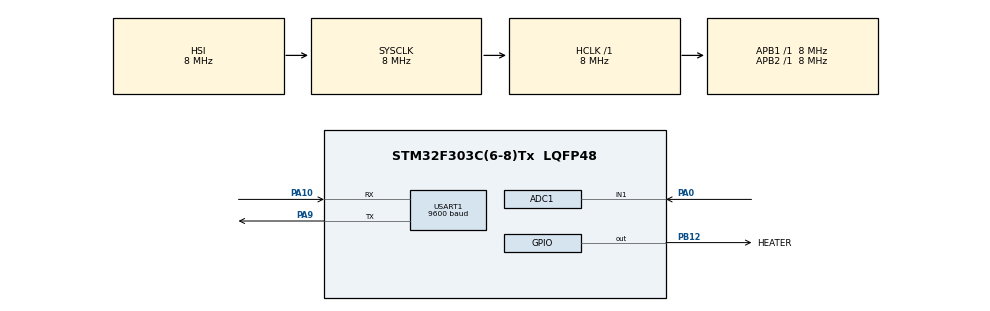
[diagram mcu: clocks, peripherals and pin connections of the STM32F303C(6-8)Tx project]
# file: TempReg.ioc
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ADC1.Channel-0\#ChannelRegularConversion=ADC_CHANNEL_1
ADC1.NbrOfConversionFlag=1
ADC1.Offset-0\#ChannelRegularConversion=0
ADC1.OffsetNumber-0\#ChannelRegularConversion=ADC_OFFSET_NONE
ADC1.Rank-0\#ChannelRegularConversion=1
ADC1.SamplingTime-0\#ChannelRegularConversion=ADC_SAMPLETIME_1CYCLE_5
ADC1.master=1
Mcu.Family=STM32F3
Mcu.Name=STM32F303C(6-8)Tx
Mcu.Package=LQFP48
NVIC.ADC1_2_IRQn=true\:0\:0\:false\:false\:true\:true\:true
NVIC.PriorityGroup=NVIC_PRIORITYGROUP_4
NVIC.TIM1_CC_IRQn=true\:0\:0\:false\:false\:true\:true\:true
PA0.Mode=IN1-Single-Ended
PA0.Signal=ADC1_IN1
PA10.Mode=Asynchronous
PA10.Signal=USART1_RX
PA9.Mode=Asynchronous
PA9.Signal=USART1_TX
PB12.GPIO_Label=HEATER
PB12.Signal=GPIO_Output
ProjectManager.HeapSize=0x200
ProjectManager.StackSize=0x400
ProjectManager.TargetToolchain=MDK-ARM V5.27
RCC.AHBFreq_Value=8000000
RCC.APB1Freq_Value=8000000
RCC.APB1TimFreq_Value=8000000
RCC.APB2Freq_Value=8000000
RCC.APB2TimFreq_Value=8000000
RCC.CortexFreq_Value=8000000
RCC.HCLKFreq_Value=8000000
RCC.HSE_VALUE=8000000
RCC.HSI_VALUE=8000000
RCC.LSE_VALUE=32768
RCC.PLLMUL=RCC_PLL_MUL4
RCC.SYSCLKFreq_VALUE=8000000
TIM1.ClockDivision=TIM_CLOCKDIVISION_DIV1
TIM1.Period=7999
TIM1.Prescaler=0
TIM2.Period=7999
TIM2.Prescaler=999
USART1.BaudRate=9600
USART1.VirtualMode-Asynchronous=VM_ASYNC
VP_TIM1_VS_ClockSourceINT.Mode=Internal
VP_TIM2_VS_ClockSourceINT.Mode=Internal
board=custom

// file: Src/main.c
/* USER CODE BEGIN Header */
/**
  ******************************************************************************
  * @file           : main.c
  * @brief          : Main program body
  ******************************************************************************
  * @attention
  *
  * <h2><center>&copy; Copyright (c) 2020 STMicroelectronics.
  * All rights reserved.</center></h2>
  *
  * This software component is licensed by ST under BSD 3-Clause license,
  * the "License"; You may not use this file except in compliance with the
  * License. You may obtain a copy of the License at:
  *                        opensource.org/licenses/BSD-3-Clause
  *
  ******************************************************************************
  */
/* USER CODE END Header */

#include "main.h"

/* USER CODE BEGIN PD */
// Коэффициенты преобразования показаний АЦП в температуру
#define TEMP_COEFF_A 0.01
#define TEMP_COEFF_B 0.0
/* USER CODE END PD */

ADC_HandleTypeDef hadc1;

TIM_HandleTypeDef htim1;
TIM_HandleTypeDef htim2;

UART_HandleTypeDef huart1;

/* USER CODE BEGIN PV */

volatile uint8_t rx_buff[256]; // Кольцевой буфер для приёма данных
volatile uint8_t rx_head=0, rx_tail=0; // Указатели на голову и хвост

volatile uint8_t tx_buff[256]; // Кольцевой буфер для отправки данных
volatile uint8_t tx_head=0, tx_tail=0; // Указатели на голову и хвост

volatile uint8_t chr; // Временный символ, который мы разбираем из rx_buff

volatile double coeff_p=1.0, coeff_i=0.0, coeff_d=0.0; // Коэффициенты PID
volatile double target_temp=0.0; // Целевая температура
volatile double cur_temp; // Текущая температура
volatile uint8_t heater_state; // Состояние нагревателя

/* USER CODE END PV */

void SystemClock_Config(void);
static void MX_GPIO_Init(void);
static void MX_USART1_UART_Init(void);
static void MX_ADC1_Init(void);
static void MX_TIM1_Init(void);
static void MX_TIM2_Init(void);

/* USER CODE BEGIN 0 */

// Конечный автомат, разбирающий сообщения из кольцевого буфера
void usart_rx_proccess(void)
{
	static uint8_t ch; // Временный символ, который мы разбираем из rx_buff
	static uint8_t dstate = 0; // Состояние автомата-декодера, разбирающего входящие сообщения
	static uint8_t recv; // Какое число получаем
	static uint32_t int_part, frac_part; // Целя и дробная часть числа
	static int8_t sign; // Знак числа
	static double number; // Принятое число

	while (rx_head != rx_tail) // Пока буфер приёма не пустой
	{
		ch = rx_buff[rx_tail++]; // Забираем символ из буфера
		switch (dstate) // Разбор сообщения
		{
			case 0: {if (ch == '$') {dstate = 1; int_part = 0; frac_part = 0; sign = 1;} else dstate = 0;} break;
			case 1: {if ((ch == 'P') || (ch == 'I') || (ch == 'D') || (ch == 'T')) {recv = ch; dstate = 2;} else dstate = 0;} break;
			case 2: {if (ch == ',') dstate = 3; else dstate = 3;} //break;
			case 3: {if (ch == '-') {sign = -1; dstate = 4;} else dstate = 3;} //break;
			case 4: {if ((ch >= '0') && (ch <= '9')) {
								int_part *= 10;
								int_part += ch - '0';} else
			         if (ch == '.') dstate = 5; else dstate = 0;} break;
			case 5: {if ((ch >= '0') && (ch <= '9')) {frac_part *= 10; frac_part += ch - '0';} else
			         if ((ch == '\r') || (ch == '\n')) {
								 // Собираем дробное число
								 number = frac_part;
								 while (number >= 1.0) number /= 10.0;
								 number += int_part;
								 if (sign == -1) number *= -1;
								 // Записываем нужный коэффициент
								 if (recv == 'P') coeff_p = number;
								 if (recv == 'I') coeff_i = number;
								 if (recv == 'D') coeff_d = number;
								 if (recv == 'T') target_temp = number;
								 dstate = 0;
							 } else dstate = 0;} break;
			default: {dstate = 0;} break;
		}
	}
}

// Обработчик прерывания USART Receive Complete
void HAL_UART_RxCpltCallback(UART_HandleTypeDef *huart)
{
	if (huart == &huart1)
	{
		if (((uint8_t)(rx_head + 1)) != rx_tail) // Если кольцевой буфер не переполнен
		{
			// Просто добавляем символ в кольцевой буфер
			rx_buff[rx_head++] = chr;
			HAL_UART_Receive_IT(&huart1, (uint8_t*)&chr, 1);
		} else { // Если кольцевой буфер переполнен
			HAL_UART_Receive_IT(&huart1, (uint8_t*)&chr, 1);
		}
	}
}

// Обработчик прерывания АЦП
void HAL_ADC_ConvCpltCallback(ADC_HandleTypeDef* hadc)
{
    if(hadc == &hadc1)
    {
      uint16_t adc_val = HAL_ADC_GetValue(&hadc1);
			cur_temp = adc_val * TEMP_COEFF_A + TEMP_COEFF_B; // Вычисляем температуру по показаниям АЦП

			static volatile double err_cur=0.0, err_prev=0.0; // Ошибка
			static volatile double part_p, part_i, part_d, reaction; // PID части
			err_prev = err_cur;
			err_cur = target_temp - cur_temp;

			part_p = coeff_p * err_cur;
			part_i += coeff_i * err_cur;
			part_d = coeff_d * (err_cur - err_prev);

			reaction = part_p + part_i + part_d;

			if (reaction < 0) {
				heater_state = 1;
			} else {
				heater_state = 0;
			}
    }
}

// Обработчик прерывания таймера
void HAL_TIM_PeriodElapsedCallback(TIM_HandleTypeDef *handle)
{
	if (handle == &htim1) // Частота: 1 КГц
	{
		// Запускаем преобразование АЦП
		HAL_ADC_Start_IT(&hadc1);
	}

	if (handle == &htim2) // Частота: 1 Гц
	{
		// Включаем/выключаем нагреватель
		HAL_GPIO_WritePin(HEATER_GPIO_Port, HEATER_Pin, (heater_state ? GPIO_PIN_SET : GPIO_PIN_RESET));
	}
}

/* USER CODE END 0 */

int main(void)
{

  /* MCU Configuration--------------------------------------------------------*/

  /* Reset of all peripherals, Initializes the Flash interface and the Systick. */
  HAL_Init();

  /* Configure the system clock */
  SystemClock_Config();

  /* Initialize all configured peripherals */
  MX_GPIO_Init();
  MX_USART1_UART_Init();
  MX_ADC1_Init();
  MX_TIM1_Init();
  MX_TIM2_Init();
  /* USER CODE BEGIN 2 */
	HAL_UART_Receive_IT(&huart1, (uint8_t*)&chr, 1);
	HAL_ADCEx_Calibration_Start(&hadc1, ADC_SINGLE_ENDED);
	HAL_ADC_Start_IT(&hadc1);
	HAL_TIM_Base_Start(&htim1);
  HAL_TIM_Base_Start_IT(&htim1);
	HAL_TIM_Base_Start(&htim2);
  HAL_TIM_Base_Start_IT(&htim2);
  /* USER CODE END 2 */

  /* Infinite loop */
  /* USER CODE BEGIN WHILE */
  while (1)
  {
		usart_rx_proccess(); // Разбор входящих сообщений USART
    /* USER CODE END WHILE */

  }
}

void SystemClock_Config(void)
{
  RCC_OscInitTypeDef RCC_OscInitStruct = {0};
  RCC_ClkInitTypeDef RCC_ClkInitStruct = {0};
  RCC_PeriphCLKInitTypeDef PeriphClkInit = {0};

  /** Initializes the CPU, AHB and APB busses clocks
  */
  RCC_OscInitStruct.OscillatorType = RCC_OSCILLATORTYPE_HSI;
  RCC_OscInitStruct.HSIState = RCC_HSI_ON;
  RCC_OscInitStruct.HSICalibrationValue = RCC_HSICALIBRATION_DEFAULT;
  RCC_OscInitStruct.PLL.PLLState = RCC_PLL_ON;
  RCC_OscInitStruct.PLL.PLLSource = RCC_PLLSOURCE_HSI;
  RCC_OscInitStruct.PLL.PLLMUL = RCC_PLL_MUL4;
  if (HAL_RCC_OscConfig(&RCC_OscInitStruct) != HAL_OK)
  {
    Error_Handler();
  }
  /** Initializes the CPU, AHB and APB busses clocks
  */
  RCC_ClkInitStruct.ClockType = RCC_CLOCKTYPE_HCLK|RCC_CLOCKTYPE_SYSCLK
                              |RCC_CLOCKTYPE_PCLK1|RCC_CLOCKTYPE_PCLK2;
  RCC_ClkInitStruct.SYSCLKSource = RCC_SYSCLKSOURCE_HSI;
  RCC_ClkInitStruct.AHBCLKDivider = RCC_SYSCLK_DIV1;
  RCC_ClkInitStruct.APB1CLKDivider = RCC_HCLK_DIV1;
  RCC_ClkInitStruct.APB2CLKDivider = RCC_HCLK_DIV1;

  if (HAL_RCC_ClockConfig(&RCC_ClkInitStruct, FLASH_LATENCY_0) != HAL_OK)
  {
    Error_Handler();
  }
  PeriphClkInit.PeriphClockSelection = RCC_PERIPHCLK_USART1|RCC_PERIPHCLK_TIM1
                              |RCC_PERIPHCLK_ADC12;
  PeriphClkInit.Usart1ClockSelection = RCC_USART1CLKSOURCE_PCLK1;
  PeriphClkInit.Adc12ClockSelection = RCC_ADC12PLLCLK_DIV1;
  PeriphClkInit.Tim1ClockSelection = RCC_TIM1CLK_HCLK;
  if (HAL_RCCEx_PeriphCLKConfig(&PeriphClkInit) != HAL_OK)
  {
    Error_Handler();
  }
}

static void MX_ADC1_Init(void)
{

  ADC_MultiModeTypeDef multimode = {0};
  ADC_ChannelConfTypeDef sConfig = {0};

  /** Common config
  */
  hadc1.Instance = ADC1;
  hadc1.Init.ClockPrescaler = ADC_CLOCK_ASYNC_DIV1;
  hadc1.Init.Resolution = ADC_RESOLUTION_12B;
  hadc1.Init.ScanConvMode = ADC_SCAN_DISABLE;
  hadc1.Init.ContinuousConvMode = DISABLE;
  hadc1.Init.DiscontinuousConvMode = DISABLE;
  hadc1.Init.ExternalTrigConvEdge = ADC_EXTERNALTRIGCONVEDGE_NONE;
  hadc1.Init.ExternalTrigConv = ADC_SOFTWARE_START;
  hadc1.Init.DataAlign = ADC_DATAALIGN_RIGHT;
  hadc1.Init.NbrOfConversion = 1;
  hadc1.Init.DMAContinuousRequests = DISABLE;
  hadc1.Init.EOCSelection = ADC_EOC_SINGLE_CONV;
  hadc1.Init.LowPowerAutoWait = DISABLE;
  hadc1.Init.Overrun = ADC_OVR_DATA_OVERWRITTEN;
  if (HAL_ADC_Init(&hadc1) != HAL_OK)
  {
    Error_Handler();
  }
  /** Configure the ADC multi-mode
  */
  multimode.Mode = ADC_MODE_INDEPENDENT;
  if (HAL_ADCEx_MultiModeConfigChannel(&hadc1, &multimode) != HAL_OK)
  {
    Error_Handler();
  }
  /** Configure Regular Channel
  */
  sConfig.Channel = ADC_CHANNEL_1;
  sConfig.Rank = ADC_REGULAR_RANK_1;
  sConfig.SingleDiff = ADC_SINGLE_ENDED;
  sConfig.SamplingTime = ADC_SAMPLETIME_1CYCLE_5;
  sConfig.OffsetNumber = ADC_OFFSET_NONE;
  sConfig.Offset = 0;
  if (HAL_ADC_ConfigChannel(&hadc1, &sConfig) != HAL_OK)
  {
    Error_Handler();
  }

}

static void MX_TIM1_Init(void)
{

  TIM_ClockConfigTypeDef sClockSourceConfig = {0};
  TIM_MasterConfigTypeDef sMasterConfig = {0};

  htim1.Instance = TIM1;
  htim1.Init.Prescaler = 0;
  htim1.Init.CounterMode = TIM_COUNTERMODE_UP;
  htim1.Init.Period = 7999;
  htim1.Init.ClockDivision = TIM_CLOCKDIVISION_DIV1;
  htim1.Init.RepetitionCounter = 0;
  htim1.Init.AutoReloadPreload = TIM_AUTORELOAD_PRELOAD_DISABLE;
  if (HAL_TIM_Base_Init(&htim1) != HAL_OK)
  {
    Error_Handler();
  }
  sClockSourceConfig.ClockSource = TIM_CLOCKSOURCE_INTERNAL;
  if (HAL_TIM_ConfigClockSource(&htim1, &sClockSourceConfig) != HAL_OK)
  {
    Error_Handler();
  }
  sMasterConfig.MasterOutputTrigger = TIM_TRGO_RESET;
  sMasterConfig.MasterOutputTrigger2 = TIM_TRGO2_RESET;
  sMasterConfig.MasterSlaveMode = TIM_MASTERSLAVEMODE_DISABLE;
  if (HAL_TIMEx_MasterConfigSynchronization(&htim1, &sMasterConfig) != HAL_OK)
  {
    Error_Handler();
  }

}

static void MX_TIM2_Init(void)
{

  TIM_ClockConfigTypeDef sClockSourceConfig = {0};
  TIM_MasterConfigTypeDef sMasterConfig = {0};

  htim2.Instance = TIM2;
  htim2.Init.Prescaler = 999;
  htim2.Init.CounterMode = TIM_COUNTERMODE_UP;
  htim2.Init.Period = 7999;
  htim2.Init.ClockDivision = TIM_CLOCKDIVISION_DIV1;
  htim2.Init.AutoReloadPreload = TIM_AUTORELOAD_PRELOAD_DISABLE;
  if (HAL_TIM_Base_Init(&htim2) != HAL_OK)
  {
    Error_Handler();
  }
  sClockSourceConfig.ClockSource = TIM_CLOCKSOURCE_INTERNAL;
  if (HAL_TIM_ConfigClockSource(&htim2, &sClockSourceConfig) != HAL_OK)
  {
    Error_Handler();
  }
  sMasterConfig.MasterOutputTrigger = TIM_TRGO_RESET;
  sMasterConfig.MasterSlaveMode = TIM_MASTERSLAVEMODE_DISABLE;
  if (HAL_TIMEx_MasterConfigSynchronization(&htim2, &sMasterConfig) != HAL_OK)
  {
    Error_Handler();
  }

}

static void MX_USART1_UART_Init(void)
{

  huart1.Instance = USART1;
  huart1.Init.BaudRate = 9600;
  huart1.Init.WordLength = UART_WORDLENGTH_8B;
  huart1.Init.StopBits = UART_STOPBITS_1;
  huart1.Init.Parity = UART_PARITY_NONE;
  huart1.Init.Mode = UART_MODE_TX_RX;
  huart1.Init.HwFlowCtl = UART_HWCONTROL_NONE;
  huart1.Init.OverSampling = UART_OVERSAMPLING_16;
  huart1.Init.OneBitSampling = UART_ONE_BIT_SAMPLE_DISABLE;
  huart1.AdvancedInit.AdvFeatureInit = UART_ADVFEATURE_NO_INIT;
  if (HAL_UART_Init(&huart1) != HAL_OK)
  {
    Error_Handler();
  }

}

static void MX_GPIO_Init(void)
{
  GPIO_InitTypeDef GPIO_InitStruct = {0};

  /* GPIO Ports Clock Enable */
  __HAL_RCC_GPIOA_CLK_ENABLE();
  __HAL_RCC_GPIOB_CLK_ENABLE();

  /*Configure GPIO pin Output Level */
  HAL_GPIO_WritePin(HEATER_GPIO_Port, HEATER_Pin, GPIO_PIN_RESET);

  /*Configure GPIO pin : HEATER_Pin */
  GPIO_InitStruct.Pin = HEATER_Pin;
  GPIO_InitStruct.Mode = GPIO_MODE_OUTPUT_PP;
  GPIO_InitStruct.Pull = GPIO_NOPULL;
  GPIO_InitStruct.Speed = GPIO_SPEED_FREQ_LOW;
  HAL_GPIO_Init(HEATER_GPIO_Port, &GPIO_InitStruct);

}

void Error_Handler(void)
{
}

/************************ (C) COPYRIGHT STMicroelectronics *****END OF FILE****/
